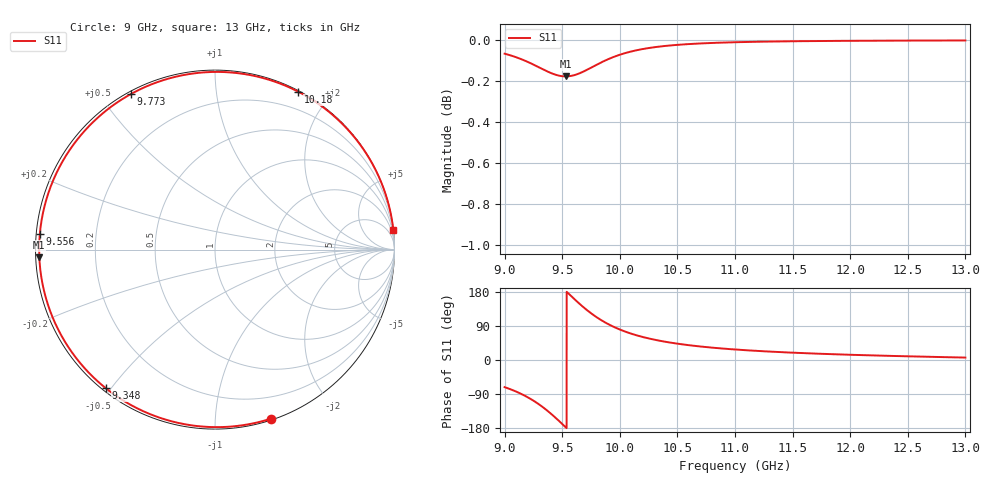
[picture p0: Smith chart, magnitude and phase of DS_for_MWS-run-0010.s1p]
! TOUCHSTONE file generated by CST DESIGN STUDIO
! Date and time: Tue Feb  4 17:40:38 2025
! Project name: C:\Work\MatlabApps\UnitCellOptimizationMatlab\CST\unitcell.cst
! Tree item: Tasks\Sweep1\SPara1\S-Parameters
! Header version: 2024
! Port assignment regex: !\s*Touchstone port\s*([0-9]+)\s*=\s*(CST MWS port|CST DES external port|CST DES block port)\s*(.+)\s* \(\"(.*)\"\)(\s*mode\s*([0-9]+))?.*
! Touchstone port assignment:
! Touchstone port 1 = CST DES external port 1 ("")
# GHz S MA R 50
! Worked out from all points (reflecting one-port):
!   4001 points, 9 GHz to 13 GHz, reference 50 ohm
!   lowest |S11| = -0.2 dB at 9.53 GHz (marker M1), VSWR 97.53, Z = 0.513 - j1.11 ohm
!   phase of S11 starts at -72 deg and turns -282 deg over the sweep
!   S11 on the Smith chart (normalised r, x): 9 GHz: 0.01, -1.39; 9.348 GHz: 0.01, -0.49; 9.556 GHz: 0.01, +0.04; 9.773 GHz: 0.01, +0.60; 10.18 GHz: 0.01, +1.66; 13 GHz: 0, +18
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9  0.9922 -71.6
9.097  0.9903 -82.9
9.205  0.9876 -99.1
9.28  0.9853 -113.2
9.348  0.9831 -128.2
9.42  0.9811 -146.4
9.462  0.9803 -157.9
9.5  0.9798 -168.7
9.53  0.9797 -177.5
9.556  0.9798 175.0
9.61  0.9805 159.5
9.671  0.982 142.8
9.722  0.9836 130.0
9.773  0.9853 118.3
9.821  0.9868 108.5
9.873  0.9884 99.0
9.932  0.9901 89.7
10  0.9917 80.5
10.087  0.9933 70.7
10.181  0.9946 62.2
10.327  0.9961 51.9
10.5  0.9972 43.1
10.721  0.998 35.0
11  0.9986 27.7
11.5  0.9992 19.3
12  0.9994 13.8
12.5  0.9995 9.7
13  0.9996 6.4
